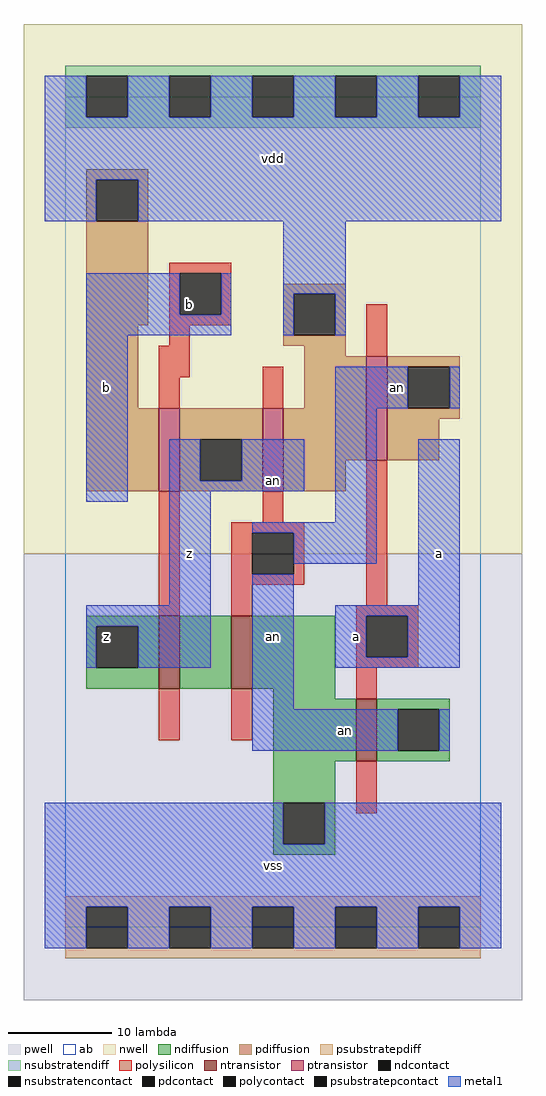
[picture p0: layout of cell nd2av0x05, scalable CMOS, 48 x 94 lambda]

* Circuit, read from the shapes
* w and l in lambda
.subckt nd2av0x05 a an b vdd vss z
M1 n1 b z vss nfet w=7 l=2
M2 vss an n1 vss nfet w=7 l=2
M3 an a vss vss nfet w=6 l=2
M4 z b vdd vdd pfet w=8 l=2
M5 vdd an z vdd pfet w=8 l=2
M6 an a vdd vdd pfet w=10 l=2
.ends

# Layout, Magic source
magic
tech scmos
<< ab >>
rect 0 0 40 80
<< pwell >>
rect -4 -7 44 36
<< nwell >>
rect -4 36 44 87
<< polysilicon >>
rect 10 63 16 64
rect 10 59 11 63
rect 15 59 16 63
rect 10 58 16 59
rect 10 56 12 58
rect 9 53 12 56
rect 29 55 31 60
rect 9 50 11 53
rect 19 50 21 54
rect 9 30 11 42
rect 19 39 21 42
rect 16 38 23 39
rect 16 34 18 38
rect 22 34 23 38
rect 16 33 23 34
rect 16 30 18 33
rect 29 31 31 45
rect 28 30 34 31
rect 9 18 11 23
rect 16 18 18 23
rect 28 26 29 30
rect 33 26 34 30
rect 28 25 34 26
rect 28 22 30 25
rect 28 11 30 16
<< ndiffusion >>
rect 2 29 9 30
rect 2 25 3 29
rect 7 25 9 29
rect 2 23 9 25
rect 11 23 16 30
rect 18 23 26 30
rect 20 22 26 23
rect 20 16 28 22
rect 30 21 37 22
rect 30 17 32 21
rect 36 17 37 21
rect 30 16 37 17
rect 20 12 26 16
rect 20 8 21 12
rect 25 8 26 12
rect 20 7 26 8
<< pdiffusion >>
rect 2 72 8 73
rect 2 68 3 72
rect 7 68 8 72
rect 2 58 8 68
rect 21 61 27 62
rect 2 50 7 58
rect 21 57 22 61
rect 26 57 27 61
rect 21 56 27 57
rect 23 55 27 56
rect 23 50 29 55
rect 2 42 9 50
rect 11 47 19 50
rect 11 43 13 47
rect 17 43 19 47
rect 11 42 19 43
rect 21 45 29 50
rect 31 54 38 55
rect 31 50 33 54
rect 37 50 38 54
rect 31 49 38 50
rect 31 45 36 49
rect 21 42 27 45
<< metal1 >>
rect -2 78 2 82
rect 6 78 10 82
rect 14 78 18 82
rect 22 78 26 82
rect 30 78 34 82
rect 38 78 42 82
rect -2 72 42 78
rect -2 68 3 72
rect 7 68 42 72
rect 2 59 11 63
rect 15 59 16 63
rect 2 57 16 59
rect 21 61 27 68
rect 21 57 22 61
rect 26 57 27 61
rect 2 41 6 57
rect 26 50 33 54
rect 37 50 38 54
rect 10 43 13 47
rect 17 43 23 47
rect 10 42 23 43
rect 10 31 14 42
rect 26 39 30 50
rect 2 29 14 31
rect 2 25 3 29
rect 7 25 14 29
rect 18 38 30 39
rect 22 35 30 38
rect 18 21 22 34
rect 34 31 38 47
rect 26 30 38 31
rect 26 26 29 30
rect 33 26 38 30
rect 26 25 38 26
rect 18 17 32 21
rect 36 17 37 21
rect -2 8 21 12
rect 25 8 42 12
rect -2 2 42 8
rect -2 -2 2 2
rect 6 -2 10 2
rect 14 -2 18 2
rect 22 -2 26 2
rect 30 -2 34 2
rect 38 -2 42 2
<< ntransistor >>
rect 9 23 11 30
rect 16 23 18 30
rect 28 16 30 22
<< ptransistor >>
rect 9 42 11 50
rect 19 42 21 50
rect 29 45 31 55
<< polycontact >>
rect 11 59 15 63
rect 18 34 22 38
rect 29 26 33 30
<< ndcontact >>
rect 3 25 7 29
rect 32 17 36 21
rect 21 8 25 12
<< pdcontact >>
rect 3 68 7 72
rect 22 57 26 61
rect 13 43 17 47
rect 33 50 37 54
<< psubstratepcontact >>
rect 2 -2 6 2
rect 10 -2 14 2
rect 18 -2 22 2
rect 26 -2 30 2
rect 34 -2 38 2
<< nsubstratencontact >>
rect 2 78 6 82
rect 10 78 14 82
rect 18 78 22 82
rect 26 78 30 82
rect 34 78 38 82
<< psubstratepdiff >>
rect 0 2 40 3
rect 0 -2 2 2
rect 6 -2 10 2
rect 14 -2 18 2
rect 22 -2 26 2
rect 30 -2 34 2
rect 38 -2 40 2
rect 0 -3 40 -2
<< nsubstratendiff >>
rect 0 82 40 83
rect 0 78 2 82
rect 6 78 10 82
rect 14 78 18 82
rect 22 78 26 82
rect 30 78 34 82
rect 38 78 40 82
rect 0 77 40 78
<< labels >>
rlabel ptransistor 20 43 20 43 6 an
rlabel ndcontact 4 28 4 28 6 z
rlabel metal1 4 52 4 52 6 b
rlabel metal1 12 36 12 36 6 z
rlabel polycontact 12 60 12 60 6 b
rlabel metal1 20 6 20 6 6 vss
rlabel metal1 20 28 20 28 6 an
rlabel metal1 28 28 28 28 6 a
rlabel metal1 20 44 20 44 6 z
rlabel metal1 20 74 20 74 6 vdd
rlabel metal1 27 19 27 19 6 an
rlabel metal1 36 36 36 36 6 a
rlabel metal1 32 52 32 52 6 an
<< end >>
